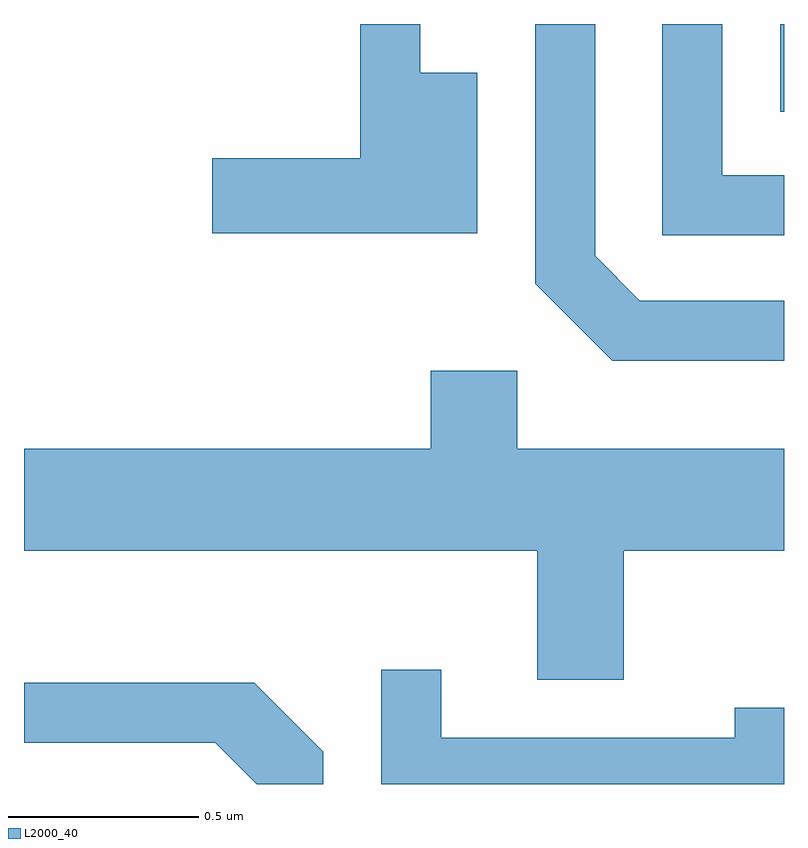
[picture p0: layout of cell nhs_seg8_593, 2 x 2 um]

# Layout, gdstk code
import gdstk
lib = gdstk.Library(unit=1e-6, precision=1e-09)
def R(c, l, rs):  # rectangles x0, y0, x1, y1
    for r in rs: c.add(gdstk.rectangle(r[:2], r[2:], *l))
def P(c, l, *ps):  # polygons
    for p in ps: c.add(gdstk.Polygon(p, *l))
L2000_40 = (2000, 40)

nhs_seg8_593 = lib.new_cell('nhs_seg8_593')
R(nhs_seg8_593, L2000_40, [(191.601,1853.111,191.611,1853.342)])
P(nhs_seg8_593, L2000_40, [(191.611,1852.614),(191.232,1852.614),(191.114,1852.732),(191.114,1853.342),(190.956,1853.342),(190.956,1852.659),(191.159,1852.456),(191.611,1852.456)],
  [(191.611,1852.944),(191.449,1852.944),(191.449,1853.342),(191.291,1853.342),(191.291,1852.786),(191.611,1852.786)],
  [(190.804,1853.214),(190.654,1853.214),(190.654,1853.342),(190.496,1853.342),(190.496,1852.989),(190.106,1852.989),(190.106,1852.791),(190.804,1852.791)],
  [(191.189,1851.956),(191.611,1851.956),(191.611,1852.224),(190.909,1852.224),(190.909,1852.429),(190.681,1852.429),(190.681,1852.224),(189.611,1852.224),(189.611,1851.956),(190.961,1851.956),(190.961,1851.616),(191.189,1851.616)],
  [(191.611,1851.543),(191.481,1851.543),(191.481,1851.464),(190.709,1851.464),(190.709,1851.643),(190.551,1851.643),(190.551,1851.342),(191.611,1851.342)],
  [(190.399,1851.427),(190.217,1851.609),(189.611,1851.609),(189.611,1851.451),(190.114,1851.451),(190.223,1851.342),(190.399,1851.342)])

lib.write_gds('nhs_seg8_593.gds')
